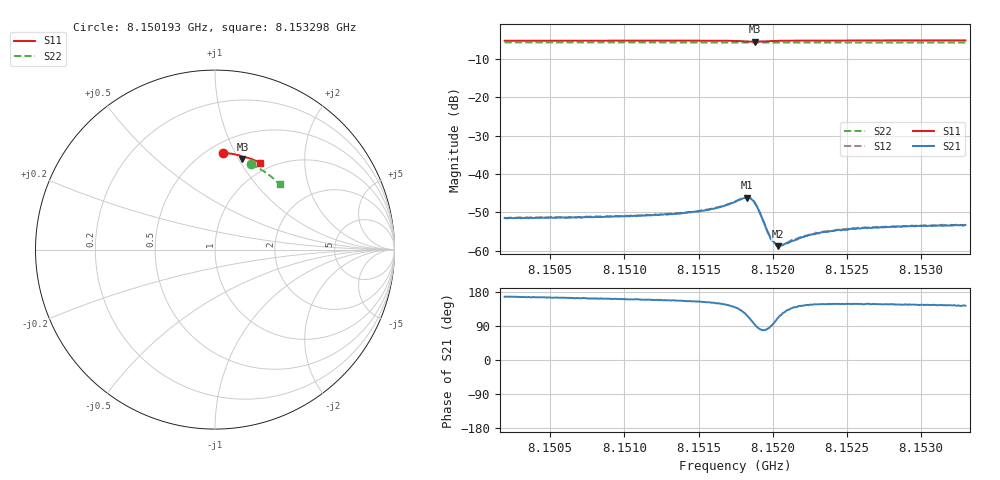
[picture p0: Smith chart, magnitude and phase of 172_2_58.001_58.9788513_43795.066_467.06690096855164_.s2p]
#  HZ  S  RI  R  50.00
! Rohde & Schwarz Vector Network Analyzer
! Rohde-Schwarz,ZNB20-2Port,1311601062101988,3.16
! Created: UTC 3/21/2024, 12:57:58 AM
! freq[Hz]  re:S11  im:S11  re:S21  im:S21  re:S12  im:S12  re:S22  im:S22
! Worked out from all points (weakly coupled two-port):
!   401 points, 8.150193 GHz to 8.153298 GHz, reference 50 ohm
!   highest |S21| = -46.13 dB at 8.151823 GHz (marker M1); lowest = -58.8 dB at 8.152033 GHz (marker M2)
!   lowest |S11| = -5.6 dB at 8.151877 GHz (marker M3), VSWR 3.21, Z = 37.3 + j51.8 ohm
!   |S11| at or under -10 dB: nowhere
!   |S22| runs from -5.8 to -5.8 dB; largest |S21 - S12| = 0.00013
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8.1501932e9  0.045 0.5388  -0.00261 0.000608  -0.0026 0.000633  0.1985 0.4758
8.1507132e9  0.0815 0.5355  -0.00258 0.00078  -0.00263 0.000863  0.2289 0.4612
8.1512332e9  0.1181 0.5292  -0.00271 0.00111  -0.00273 0.00114  0.258 0.4449
8.1515514e9  0.1415 0.5232  -0.00302 0.00155  -0.00302 0.00161  0.2752 0.4339
8.1516523e9  0.1496 0.52  -0.0032 0.00195  -0.00319 0.00203  0.2806 0.4301
8.1517454e9  0.1573 0.5143  -0.00329 0.00286  -0.00327 0.0029  0.2856 0.4268
8.151823e9  0.1594 0.5052  -0.00239 0.00432  -0.00233 0.00439  0.2895 0.4237
8.1518541e9  0.1564 0.5022  -0.00123 0.00461  -0.00118 0.00463  0.2908 0.4224
8.1518774e9  0.1532 0.5024  -0.000288 0.00424  -0.00026 0.00427  0.2919 0.4215
8.1519084e9  0.1509 0.506  0.000417 0.00323  0.000482 0.00327  0.2935 0.4208
8.1519627e9  0.1538 0.5121  0.000268 0.00181  0.000288 0.00177  0.2962 0.4189
8.151986e9  0.1562 0.5134  1.97e-05 0.00143  6.61e-05 0.00148  0.2976 0.418
8.1520093e9  0.1586 0.5144  -0.000188 0.00129  -0.000207 0.00127  0.2989 0.4172
8.1520326e9  0.161 0.5148  -0.000398 0.00108  -0.000396 0.00113  0.3 0.4163
8.1520481e9  0.1625 0.5149  -0.000551 0.00105  -0.000529 0.0011  0.3008 0.4158
8.1520869e9  0.1663 0.5149  -0.000781 0.000986  -0.000774 0.000978  0.3027 0.4142
8.1521335e9  0.1704 0.5144  -0.000996 0.000915  -0.00102 0.000918  0.3053 0.4124
8.1522654e9  0.1808 0.5121  -0.00136 0.000925  -0.00131 0.000941  0.312 0.4073
8.1524362e9  0.1932 0.5084  -0.00159 0.000988  -0.00158 0.00103  0.3205 0.4003
8.1524905e9  0.1968 0.5071  -0.00159 0.000993  -0.00162 0.00104  0.3231 0.398
8.1527854e9  0.2168 0.4996  -0.00172 0.00111  -0.00172 0.00112  0.3372 0.3856
8.1532976e9  0.2494 0.4851  -0.00175 0.0013  -0.00172 0.00131  0.3607 0.3629
